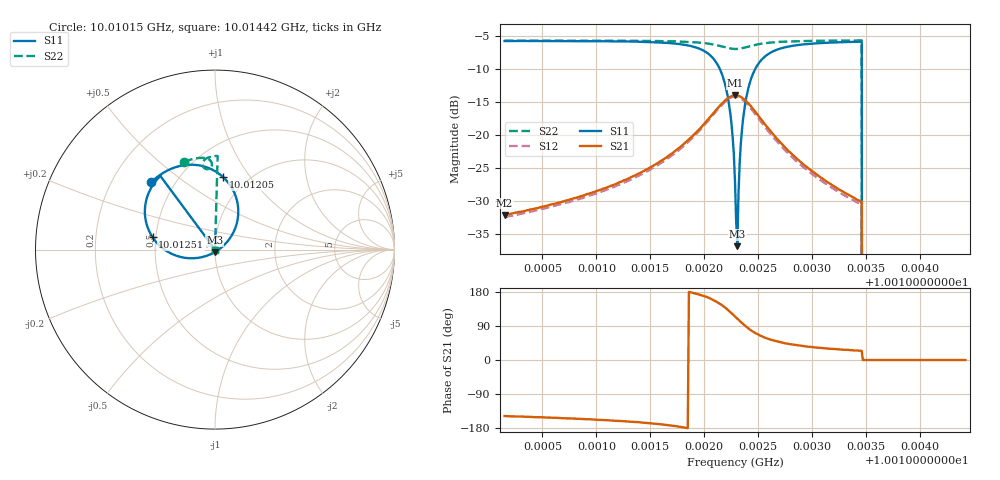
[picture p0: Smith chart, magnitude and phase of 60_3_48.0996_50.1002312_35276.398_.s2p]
#  HZ  S  RI  R  50.00
! Rohde & Schwarz Vector Network Analyzer
! Rohde-Schwarz,ZNB20-2Port,1311601062101988,3.16
! Created: UTC 12/23/2023, 3:40:40 AM
! freq[Hz]  re:S11  im:S11  re:S21  im:S21  re:S12  im:S12  re:S22  im:S22
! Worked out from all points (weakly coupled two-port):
!   401 points, 10.01015 GHz to 10.01442 GHz, reference 50 ohm
!   highest |S21| = -13.97 dB at 10.01229 GHz (marker M1); lowest = -32.1 dB at 10.01015 GHz (marker M2)
!   lowest |S11| = -36.8 dB at 10.01231 GHz (marker M3), VSWR 1.03, Z = 49.9 - j1.43 ohm
!   |S11| at or under -10 dB: 10.01215 GHz to 10.01247 GHz (326.8 kHz wide, 0.00326 % of centre); 10.01346 GHz to end of sweep
!   |S22| runs from - to -5.6 dB; largest |S21 - S12| = 0.0091
!   S11 on the Smith chart (normalised r, x): 10.01015 GHz: 0.37, +0.38; 10.01205 GHz: 0.78, +0.75; 10.01251 GHz: 0.48, +0.08; 10.01442 GHz: 1.00, +0.00
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1.0010149e10  -0.3562 0.3743  -0.021 -0.0132  -0.0196 -0.0137  -0.1723 0.4897
1.0010865e10  -0.3004 0.4198  -0.0315 -0.0142  -0.0295 -0.0152  -0.1252 0.504
1.001158e10  -0.1899 0.4673  -0.061 -0.012  -0.0582 -0.0146  -0.071 0.5114
1.0011879e10  -0.0748 0.4666  -0.0962 0.00288  -0.0931 -0.00223  -0.0414 0.5061
1.001205e10  0.0458 0.4035  -0.1298 0.0395  -0.1282 0.0321  -0.0225 0.4915
1.0012146e10  0.117 0.2922  -0.1422 0.0883  -0.143 0.0798  -0.0168 0.4737
1.0012211e10  0.1261 0.1682  -0.1318 0.1345  -0.1344 0.1263  -0.0217 0.4588
1.0012253e10  0.0924 0.0773  -0.1089 0.1646  -0.1132 0.1567  -0.0303 0.451
1.0012264e10  0.0778 0.0555  -0.1012 0.1712  -0.1057 0.1634  -0.0331 0.4497
1.0012285e10  0.0414 0.0163  -0.0836 0.1819  -0.0887 0.1744  -0.0391 0.4479
1.0012307e10  -0.00124 -0.0143  -0.0647 0.1886  -0.0691 0.1819  -0.0454 0.4478
1.0012317e10  -0.0241 -0.0257  -0.0554 0.1906  -0.0591 0.1841  -0.0484 0.4484
1.0012349e10  -0.0979 -0.0464  -0.0261 0.1907  -0.0304 0.1845  -0.0568 0.452
1.0012381e10  -0.1708 -0.0453  0.0011 0.1834  -0.00442 0.1774  -0.0631 0.4579
1.0012435e10  -0.2681 -0.00896  0.0344 0.1609  0.0286 0.1557  -0.0684 0.4699
1.001251e10  -0.3478 0.0689  0.0564 0.1255  0.0502 0.1218  -0.0674 0.485
1.0012723e10  -0.3893 0.2403  0.0594 0.0609  0.0538 0.0602  -0.0474 0.5082
1.0013001e10  -0.358 0.3405  0.044 0.0299  0.0406 0.0303  -0.0215 0.5177
1.0013439e10  -0.3067 0.4079  0.0289 0.0133  0.0268 0.0141  0.0131 0.5217
1.0013492e10  0 0  0 0  0 0  0 0
1.0013717e10  0 0  0 0  0 0  0 0
1.0014422e10  0 0  0 0  0 0  0 0
